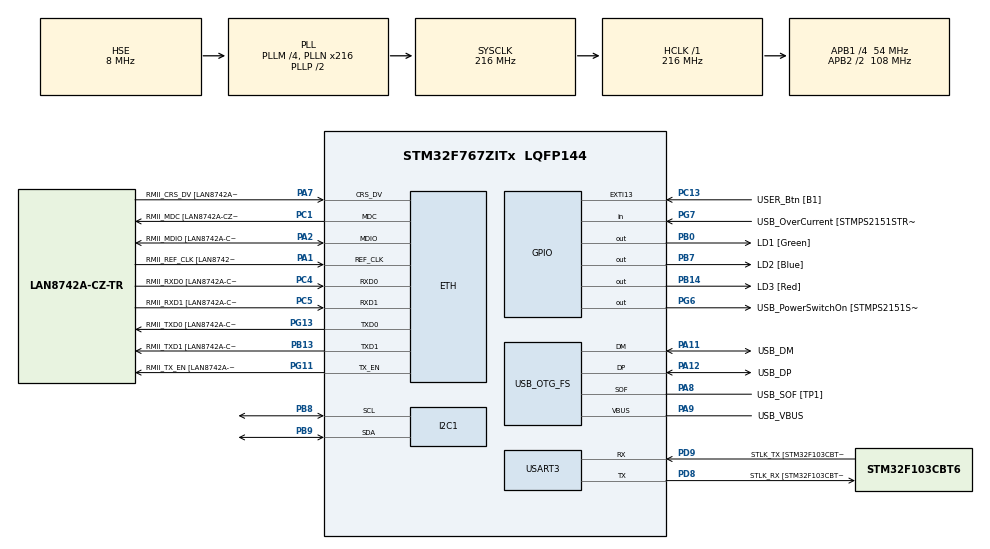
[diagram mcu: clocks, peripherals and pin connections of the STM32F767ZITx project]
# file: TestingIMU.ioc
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CORTEX_M7.default_mode_Activation=1
ETH.MediaInterface=HAL_ETH_RMII_MODE
ETH.PHY_Name=LAN8742A_PHY_ADDRESS
ETH.PHY_Value=0
ETH.PhyAddress=0
I2C1.Timing=0x20404768
Mcu.Family=STM32F7
Mcu.Name=STM32F767ZITx
Mcu.Package=LQFP144
NVIC.PriorityGroup=NVIC_PRIORITYGROUP_4
PA1.GPIO_Label=RMII_REF_CLK [LAN8742A-CZ-TR_REFCLK0]
PA1.Mode=RMII
PA1.Signal=ETH_REF_CLK
PA10.GPIO_Label=USB_ID
PA10.Signal=USB_OTG_FS_ID
PA11.GPIO_Label=USB_DM
PA11.Mode=Device_Only
PA11.Signal=USB_OTG_FS_DM
PA12.GPIO_Label=USB_DP
PA12.Mode=Device_Only
PA12.Signal=USB_OTG_FS_DP
PA13.GPIO_Label=TMS
PA13.Mode=Serial_Wire
PA13.Signal=SYS_JTMS-SWDIO
PA14.GPIO_Label=TCK
PA14.Mode=Serial_Wire
PA14.Signal=SYS_JTCK-SWCLK
PA2.GPIO_Label=RMII_MDIO [LAN8742A-CZ-TR_MDIO]
PA2.Mode=RMII
PA2.Signal=ETH_MDIO
PA7.GPIO_Label=RMII_CRS_DV [LAN8742A-CZ-TR_CRS_DV]
PA7.Mode=RMII
PA7.Signal=ETH_CRS_DV
PA8.GPIO_Label=USB_SOF [TP1]
PA8.Mode=Activate_SOF_FS
PA8.Signal=USB_OTG_FS_SOF
PA9.GPIO_Label=USB_VBUS
PA9.Mode=Activate_VBUS
PA9.Signal=USB_OTG_FS_VBUS
PB0.GPIO_Label=LD1 [Green]
PB0.Signal=GPIO_Output
PB13.GPIO_Label=RMII_TXD1 [LAN8742A-CZ-TR_TXD1]
PB13.Mode=RMII
PB13.Signal=ETH_TXD1
PB14.GPIO_Label=LD3 [Red]
PB14.Signal=GPIO_Output
PB3.GPIO_Label=SWO
PB3.Signal=SYS_JTDO-SWO
PB7.GPIO_Label=LD2 [Blue]
PB7.Signal=GPIO_Output
PB8.Mode=I2C
PB8.Signal=I2C1_SCL
PB9.Mode=I2C
PB9.Signal=I2C1_SDA
PC1.GPIO_Label=RMII_MDC [LAN8742A-CZ-TR_MDC]
PC1.Mode=RMII
PC1.Signal=ETH_MDC
PC13.GPIO_Label=USER_Btn [B1]
PC13.Signal=GPXTI13
PC14/OSC32_IN.Mode=LSE-External-Oscillator
PC14/OSC32_IN.Signal=RCC_OSC32_IN
PC15/OSC32_OUT.Mode=LSE-External-Oscillator
PC15/OSC32_OUT.Signal=RCC_OSC32_OUT
PC4.GPIO_Label=RMII_RXD0 [LAN8742A-CZ-TR_RXD0]
PC4.Mode=RMII
PC4.Signal=ETH_RXD0
PC5.GPIO_Label=RMII_RXD1 [LAN8742A-CZ-TR_RXD1]
PC5.Mode=RMII
PC5.Signal=ETH_RXD1
PD8.GPIO_Label=STLK_RX [STM32F103CBT6_PA3]
PD8.Mode=Asynchronous
PD8.Signal=USART3_TX
PD9.GPIO_Label=STLK_TX [STM32F103CBT6_PA2]
PD9.Mode=Asynchronous
PD9.Signal=USART3_RX
PG11.GPIO_Label=RMII_TX_EN [LAN8742A-CZ-TR_TXEN]
PG11.Mode=RMII
PG11.Signal=ETH_TX_EN
PG13.GPIO_Label=RMII_TXD0 [LAN8742A-CZ-TR_TXD0]
PG13.Mode=RMII
PG13.Signal=ETH_TXD0
PG6.GPIO_Label=USB_PowerSwitchOn [STMPS2151STR_EN]
PG6.Signal=GPIO_Output
PG7.GPIO_Label=USB_OverCurrent [STMPS2151STR_FAULT]
PG7.Signal=GPIO_Input
PH0/OSC_IN.GPIO_Label=MCO [STM32F103CBT6_PA8]
PH0/OSC_IN.Mode=HSE-External-Clock-Source
PH0/OSC_IN.Signal=RCC_OSC_IN
PH1/OSC_OUT.Mode=HSE-External-Clock-Source
PH1/OSC_OUT.Signal=RCC_OSC_OUT
ProjectManager.HeapSize=0x200
ProjectManager.StackSize=0x400
ProjectManager.TargetToolchain=STM32CubeIDE
RCC.48MHZClocksFreq_Value=24000000
RCC.AHBFreq_Value=216000000
RCC.APB1CLKDivider=RCC_HCLK_DIV4
RCC.APB1Freq_Value=54000000
RCC.APB1TimFreq_Value=108000000
RCC.APB2CLKDivider=RCC_HCLK_DIV2
RCC.APB2Freq_Value=108000000
RCC.APB2TimFreq_Value=216000000
RCC.CortexFreq_Value=216000000
RCC.HCLKFreq_Value=216000000
RCC.HSE_VALUE=8000000
RCC.HSI_VALUE=16000000
RCC.PLLM=4
RCC.PLLMUL=RCC_PLL_MUL9
RCC.PLLN=216
RCC.PLLQ=9
RCC.PRESCALERUSB=RCC_USBCLKSOURCE_PLL_DIV1_5
RCC.SYSCLKFreq_VALUE=216000000
RCC.SYSCLKSource=RCC_SYSCLKSOURCE_PLLCLK
RCC.SYSCLKSourceVirtual=RCC_SYSCLKSOURCE_PLLCLK
RCC.USBFreq_Value=48000000
RCC.VCOOutputFreq_Value=432000000
USART3.VirtualMode-Asynchronous=VM_ASYNC
USB_OTG_FS.VirtualMode=Device_Only
board=NUCLEO-F767ZI

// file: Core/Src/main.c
/* USER CODE BEGIN Header */
/**
  ******************************************************************************
  * @file           : main.c
  * @brief          : Main program body
  ******************************************************************************
  * @attention
  *
  * Copyright (c) 2026 STMicroelectronics.
  * All rights reserved.
  *
  * This software is licensed under terms that can be found in the LICENSE file
  * in the root directory of this software component.
  * If no LICENSE file comes with this software, it is provided AS-IS.
  *
  ******************************************************************************
  */
/* USER CODE END Header */
#include "main.h"
#include "eth.h"
#include "i2c.h"
#include "usart.h"
#include "usb_otg.h"
#include "gpio.h"

/* USER CODE BEGIN Includes */
#include <stdio.h>
/* USER CODE END Includes */

/* USER CODE BEGIN PD */
#define MPU9250_ADDR        (0x68 << 1)   // HAL uses 8-bit address

#define MPU_REG_WHOAMI       0x75
#define MPU_REG_PWR_MGMT_1   0x6B
#define MPU_REG_PWR_MGMT_2   0x6C
#define MPU_REG_ACCEL_XOUT_H 0x3B
#define MPU_REG_ACCEL_CONFIG 0x1C
#define MPU_REG_ACCEL_CONFIG2 0x1D
#define MPU_REG_GYRO_CONFIG  0x1B
#define MPU_REG_CONFIG       0x1A
#define MPU_REG_SMPLRT_DIV   0x19

#define ACCEL_SCALE          16384.0f   // LSB/g  at +-2g
#define GYRO_SCALE           131.0f     // LSB/(deg/s) at +-250 dps
#define STREAM_PERIOD_MS     10U        // 100 Hz UART stream
#define ZERO_SAMPLE_WARN_COUNT 25U

// Software low-pass (exponential moving average) on the scaled outputs.
// filtered = ALPHA*new + (1-ALPHA)*previous.
// Smaller ALPHA -> smoother / less jitter but more lag. Range (0,1].
// 1.0 disables the filter. Tune this to taste.
#define FILTER_ALPHA         0.15f
/* USER CODE END PD */

/* USER CODE BEGIN PV */
static uint16_t mpu_addr = MPU9250_ADDR;
static uint32_t zero_sample_count = 0;

// Exponential-moving-average filter state for the scaled outputs.
static float flt_ax = 0, flt_ay = 0, flt_az = 0;
static float flt_gx = 0, flt_gy = 0, flt_gz = 0;
static uint8_t filter_primed = 0;

/* USER CODE END PV */

void SystemClock_Config(void);
static void MPU_Config(void);

/* USER CODE BEGIN 0 */

// Redirect printf to UART3 (ST-Link virtual COM port)
int __io_putchar(int ch) {
    HAL_UART_Transmit(&huart3, (uint8_t *)&ch, 1, HAL_MAX_DELAY);
    return ch;
}

HAL_StatusTypeDef MPU_WriteReg(uint8_t reg, uint8_t data) {
    uint8_t buf[2] = {reg, data};
    return HAL_I2C_Master_Transmit(&hi2c1, mpu_addr, buf, 2, HAL_MAX_DELAY);
}

HAL_StatusTypeDef MPU_ReadRegs(uint8_t reg, uint8_t *data, uint16_t len) {
    HAL_StatusTypeDef status;
    status = HAL_I2C_Master_Transmit(&hi2c1, mpu_addr, &reg, 1, HAL_MAX_DELAY);
    if (status != HAL_OK) return status;
    return HAL_I2C_Master_Receive(&hi2c1, mpu_addr, data, len, HAL_MAX_DELAY);
}

int16_t CombineBytes(uint8_t high, uint8_t low) {
    return (int16_t)((high << 8) | low);
}

HAL_StatusTypeDef MPU_Detect(uint8_t *whoami) {
    const uint16_t addrs[] = {(0x68 << 1), (0x69 << 1)};

    for (uint32_t i = 0; i < (sizeof(addrs) / sizeof(addrs[0])); i++) {
        mpu_addr = addrs[i];
        if (MPU_ReadRegs(MPU_REG_WHOAMI, whoami, 1) == HAL_OK) {
            return HAL_OK;
        }
    }

    mpu_addr = MPU9250_ADDR;
    return HAL_ERROR;
}

HAL_StatusTypeDef MPU_WriteRegChecked(uint8_t reg, uint8_t data, const char *name) {
    HAL_StatusTypeDef status = MPU_WriteReg(reg, data);
    if (status != HAL_OK) {
        printf("# ERROR: write %s failed, HAL=%d\r\n", name, status);
        return status;
    }

    uint8_t readback = 0;
    status = MPU_ReadRegs(reg, &readback, 1);
    if (status != HAL_OK) {
        printf("# ERROR: readback %s failed, HAL=%d\r\n", name, status);
        return status;
    }

    if (readback != data) {
        printf("# WARN: %s readback 0x%02X, expected 0x%02X\r\n", name, readback, data);
    }

    return HAL_OK;
}

HAL_StatusTypeDef MPU_Init(void) {
    HAL_StatusTypeDef status;
    uint8_t whoami = 0;

    printf("\r\n# MPU-9250/MPU-6500 CSV streamer\r\n");

    HAL_Delay(100);

    status = MPU_Detect(&whoami);
    if (status != HAL_OK) {
        printf("# ERROR: no MPU found at I2C address 0x68 or 0x69\r\n");
        return status;
    }
    printf("# I2C addr=0x%02X WHO_AM_I=0x%02X\r\n", (unsigned int)(mpu_addr >> 1), whoami);
    if (whoami == 0x71)      printf("# detected=MPU-9250\r\n");
    else if (whoami == 0x70) printf("# detected=MPU-6500\r\n");
    else                     printf("# WARN: unexpected WHO_AM_I; wiring/address may be wrong\r\n");

    // Reset, wake, and enable all accel/gyro axes.
    if (MPU_WriteReg(MPU_REG_PWR_MGMT_1, 0x80) != HAL_OK) {
        printf("# ERROR: failed to reset sensor\r\n");
        return HAL_ERROR;
    }
    HAL_Delay(100);

    if (MPU_WriteRegChecked(MPU_REG_PWR_MGMT_1, 0x01, "PWR_MGMT_1") != HAL_OK) return HAL_ERROR;
    if (MPU_WriteRegChecked(MPU_REG_PWR_MGMT_2, 0x00, "PWR_MGMT_2") != HAL_OK) return HAL_ERROR;
    if (MPU_WriteRegChecked(MPU_REG_SMPLRT_DIV, 0x09, "SMPLRT_DIV") != HAL_OK) return HAL_ERROR;   // 100 Hz
    if (MPU_WriteRegChecked(MPU_REG_CONFIG, 0x05, "CONFIG") != HAL_OK) return HAL_ERROR;           // gyro DLPF ~10 Hz
    if (MPU_WriteRegChecked(MPU_REG_GYRO_CONFIG, 0x00, "GYRO_CONFIG") != HAL_OK) return HAL_ERROR; // +-250 deg/s, DLPF enabled
    if (MPU_WriteRegChecked(MPU_REG_ACCEL_CONFIG, 0x00, "ACCEL_CONFIG") != HAL_OK) return HAL_ERROR; // +-2g
    if (MPU_WriteRegChecked(MPU_REG_ACCEL_CONFIG2, 0x05, "ACCEL_CONFIG2") != HAL_OK) return HAL_ERROR; // accel DLPF ~10 Hz (was wide-open)

    printf("# Streaming at %lu Hz over USART3 115200 baud\r\n", 1000UL / STREAM_PERIOD_MS);
    printf("# Accel in g, Gyro in deg/s\r\n");
    return HAL_OK;
}

void MPU_ReadAndPrint(void) {
    uint8_t raw[14];
    if (MPU_ReadRegs(MPU_REG_ACCEL_XOUT_H, raw, 14) != HAL_OK) {
        printf("[ERROR] Read failed\r\n");
        return;
    }

    int16_t ax_raw = CombineBytes(raw[0],  raw[1]);
    int16_t ay_raw = CombineBytes(raw[2],  raw[3]);
    int16_t az_raw = CombineBytes(raw[4],  raw[5]);
    int16_t temp_raw = CombineBytes(raw[6], raw[7]);
    int16_t gx_raw = CombineBytes(raw[8],  raw[9]);
    int16_t gy_raw = CombineBytes(raw[10], raw[11]);
    int16_t gz_raw = CombineBytes(raw[12], raw[13]);

    if ((ax_raw == 0) && (ay_raw == 0) && (az_raw == 0) &&
        (gx_raw == 0) && (gy_raw == 0) && (gz_raw == 0)) {
        zero_sample_count++;
        if ((zero_sample_count % ZERO_SAMPLE_WARN_COUNT) == 0U) {
            printf("# WARN: accel and gyro have been zero for %lu samples; check IMU power, SDA/SCL pullups, address, and that this firmware is flashed\r\n",
                   zero_sample_count);
        }
    } else {
        zero_sample_count = 0;
    }

    float ax = ax_raw / ACCEL_SCALE;
    float ay = ay_raw / ACCEL_SCALE;
    float az = az_raw / ACCEL_SCALE;
    float gx = gx_raw / GYRO_SCALE;
    float gy = gy_raw / GYRO_SCALE;
    float gz = gz_raw / GYRO_SCALE;
    float temp_c = ((float)temp_raw / 333.87f) + 21.0f;

    // Exponential moving average to smooth jitter. First sample seeds the state.
    if (!filter_primed) {
        flt_ax = ax; flt_ay = ay; flt_az = az;
        flt_gx = gx; flt_gy = gy; flt_gz = gz;
        filter_primed = 1;
    } else {
        flt_ax += FILTER_ALPHA * (ax - flt_ax);
        flt_ay += FILTER_ALPHA * (ay - flt_ay);
        flt_az += FILTER_ALPHA * (az - flt_az);
        flt_gx += FILTER_ALPHA * (gx - flt_gx);
        flt_gy += FILTER_ALPHA * (gy - flt_gy);
        flt_gz += FILTER_ALPHA * (gz - flt_gz);
    }

    printf("ACCEL[g]  x=%+8.3f  y=%+8.3f  z=%+8.3f   |   GYRO[dps]  x=%+8.2f  y=%+8.2f  z=%+8.2f   |   T=%5.1fC\r\n",
           flt_ax, flt_ay, flt_az, flt_gx, flt_gy, flt_gz, temp_c);
}

/* USER CODE END 0 */

int main(void)
{

  /* MPU Configuration--------------------------------------------------------*/
  MPU_Config();

  /* MCU Configuration--------------------------------------------------------*/

  /* Reset of all peripherals, Initializes the Flash interface and the Systick. */
  HAL_Init();

  /* Configure the system clock */
  SystemClock_Config();

  /* Initialize all configured peripherals */
  MX_GPIO_Init();
  MX_ETH_Init();
  MX_USART3_UART_Init();
  MX_USB_OTG_FS_PCD_Init();
  MX_I2C1_Init();
  /* USER CODE BEGIN 2 */

  MPU_Init();

  /* USER CODE END 2 */

  /* Infinite loop */
  while (1)
  {

    /* USER CODE BEGIN 3 */

    MPU_ReadAndPrint();
    HAL_Delay(STREAM_PERIOD_MS);

  }
  /* USER CODE END 3 */
}

void SystemClock_Config(void)
{
  RCC_OscInitTypeDef RCC_OscInitStruct = {0};
  RCC_ClkInitTypeDef RCC_ClkInitStruct = {0};

  /** Configure LSE Drive Capability
  */
  HAL_PWR_EnableBkUpAccess();

  /** Configure the main internal regulator output voltage
  */
  __HAL_RCC_PWR_CLK_ENABLE();
  __HAL_PWR_VOLTAGESCALING_CONFIG(PWR_REGULATOR_VOLTAGE_SCALE1);

  /** Initializes the RCC Oscillators according to the specified parameters
  * in the RCC_OscInitTypeDef structure.
  */
  RCC_OscInitStruct.OscillatorType = RCC_OSCILLATORTYPE_HSE;
  RCC_OscInitStruct.HSEState = RCC_HSE_BYPASS;
  RCC_OscInitStruct.PLL.PLLState = RCC_PLL_ON;
  RCC_OscInitStruct.PLL.PLLSource = RCC_PLLSOURCE_HSE;
  RCC_OscInitStruct.PLL.PLLM = 4;
  RCC_OscInitStruct.PLL.PLLN = 216;
  RCC_OscInitStruct.PLL.PLLP = RCC_PLLP_DIV2;
  RCC_OscInitStruct.PLL.PLLQ = 9;
  RCC_OscInitStruct.PLL.PLLR = 2;
  if (HAL_RCC_OscConfig(&RCC_OscInitStruct) != HAL_OK)
  {
    Error_Handler();
  }

  /** Activate the Over-Drive mode
  */
  if (HAL_PWREx_EnableOverDrive() != HAL_OK)
  {
    Error_Handler();
  }

  /** Initializes the CPU, AHB and APB buses clocks
  */
  RCC_ClkInitStruct.ClockType = RCC_CLOCKTYPE_HCLK|RCC_CLOCKTYPE_SYSCLK
                              |RCC_CLOCKTYPE_PCLK1|RCC_CLOCKTYPE_PCLK2;
  RCC_ClkInitStruct.SYSCLKSource = RCC_SYSCLKSOURCE_PLLCLK;
  RCC_ClkInitStruct.AHBCLKDivider = RCC_SYSCLK_DIV1;
  RCC_ClkInitStruct.APB1CLKDivider = RCC_HCLK_DIV4;
  RCC_ClkInitStruct.APB2CLKDivider = RCC_HCLK_DIV2;

  if (HAL_RCC_ClockConfig(&RCC_ClkInitStruct, FLASH_LATENCY_7) != HAL_OK)
  {
    Error_Handler();
  }
}

 /* MPU Configuration */

void MPU_Config(void)
{
  MPU_Region_InitTypeDef MPU_InitStruct = {0};

  /* Disables the MPU */
  HAL_MPU_Disable();

  /** Initializes and configures the Region and the memory to be protected
  */
  MPU_InitStruct.Enable = MPU_REGION_ENABLE;
  MPU_InitStruct.Number = MPU_REGION_NUMBER0;
  MPU_InitStruct.BaseAddress = 0x0;
  MPU_InitStruct.Size = MPU_REGION_SIZE_4GB;
  MPU_InitStruct.SubRegionDisable = 0x87;
  MPU_InitStruct.TypeExtField = MPU_TEX_LEVEL0;
  MPU_InitStruct.AccessPermission = MPU_REGION_NO_ACCESS;
  MPU_InitStruct.DisableExec = MPU_INSTRUCTION_ACCESS_DISABLE;
  MPU_InitStruct.IsShareable = MPU_ACCESS_SHAREABLE;
  MPU_InitStruct.IsCacheable = MPU_ACCESS_NOT_CACHEABLE;
  MPU_InitStruct.IsBufferable = MPU_ACCESS_NOT_BUFFERABLE;

  HAL_MPU_ConfigRegion(&MPU_InitStruct);
  /* Enables the MPU */
  HAL_MPU_Enable(MPU_PRIVILEGED_DEFAULT);

}

void Error_Handler(void)
{
  __disable_irq();
  while (1)
  {
  }
}
